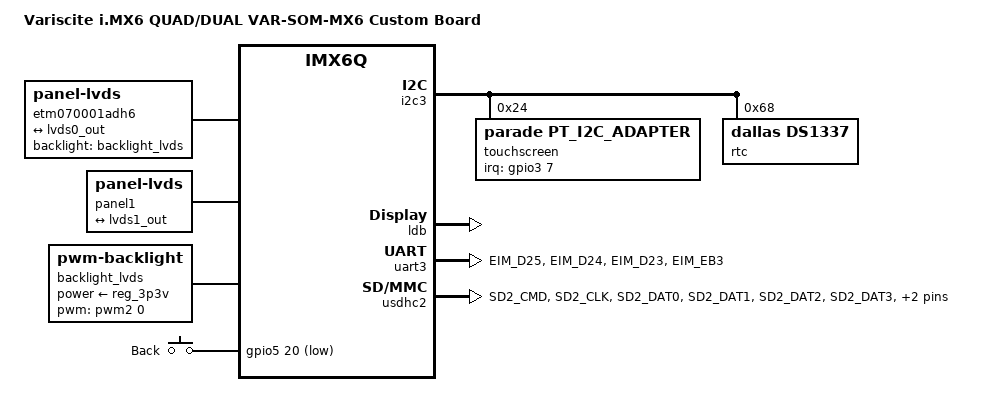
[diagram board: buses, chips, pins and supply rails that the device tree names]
// SPDX-License-Identifier: GPL-2.0+
/*
 * Support for Variscite MX6 Carrier-board
 *
 * Copyright 2016 Variscite, Ltd. All Rights Reserved
 * Copyright 2022 Bootlin
 */

/dts-v1/;

#include "imx6qdl-var-som.dtsi"
#include <dt-bindings/pwm/pwm.h>

/ {
	model = "Variscite i.MX6 QUAD/DUAL VAR-SOM-MX6 Custom Board";
	compatible = "variscite,mx6customboard", "variscite,var-som-imx6q", "fsl,imx6q";

	panel0: lvds-panel0 {
		compatible =  "panel-lvds";
		backlight = <&backlight_lvds>;
		width-mm = <152>;
		height-mm = <91>;
		label = "etm070001adh6";
		data-mapping = "jeida-18";

		panel-timing {
			clock-frequency = <32000000>;
			hactive = <800>;
			vactive = <480>;
			hback-porch = <39>;
			hfront-porch = <39>;
			vback-porch = <29>;
			vfront-porch = <13>;
			hsync-len = <47>;
			vsync-len = <2>;
		};

		port {
			panel_in_lvds0: endpoint {
				remote-endpoint = <&lvds0_out>;
			};
		};
	};

	panel1: lvds-panel1 {
		compatible =  "panel-lvds";
		width-mm = <152>;
		height-mm = <91>;
		data-mapping = "jeida-18";

		panel-timing {
			clock-frequency = <38251000>;
			hactive = <800>;
			vactive = <600>;
			hback-porch = <112>;
			hfront-porch = <32>;
			vback-porch = <3>;
			vfront-porch = <17>;
			hsync-len = <80>;
			vsync-len = <4>;
		};

		port {
			panel_in_lvds1: endpoint {
				remote-endpoint = <&lvds1_out>;
			};
		};
	};

	backlight_lvds: backlight-lvds {
		compatible = "pwm-backlight";
		pwms = <&pwm2 0 50000 0>;
		brightness-levels = <0 4 8 16 32 64 128 248>;
		default-brightness-level = <7>;
		power-supply = <&reg_3p3v>;
	};

	gpio-keys {
		compatible = "gpio-keys";
		pinctrl-names = "default";
		pinctrl-0 = <&pinctrl_gpio_keys>;

		back {
			label = "Back";
			gpios = <&gpio5 20 GPIO_ACTIVE_LOW>;
			linux,code = <KEY_BACK>;
			gpio-key,wakeup;
		};
	};
};

&i2c3 {
	pinctrl-names = "default";
	pinctrl-0 = <&pinctrl_i2c3>;
	status = "okay";

	touchscreen@24 {
		compatible = "parade,pt_i2c_adapter";
		reg = <0x24>;
		interrupt-parent = <&gpio3>;
		interrupts = <7 IRQ_TYPE_EDGE_FALLING>;
		parade,adapter_id = "pt_i2c_adapter";

		parade,core {
			parade,name = "pt_core";

			parade,irq_gpio = <71>;
			parade,rst_gpio = <141>;
			parade,level_irq_udelay = <1>;
			parade,hid_desc_register = <1>;
			/* CY_CORE_FLAG_RESTORE_PARAMETERS */
			parade,flags = <4>;
			parade,config_dut_generation = <0>;
			parade,watchdog_force_stop = <1>;
			/* CY_CORE_EWG_NONE */
			parade,easy_wakeup_gesture = <0>;
			parade,panel_id_support = <0>;
			parade,btn_keys-tag = <0>;

			parade,mt {
				parade,name = "pt_mt";

				parade,inp_dev_name = "pt_mt";
				/* CY_MT_FLAG_NONE */
				parade,flags = <0x00>;
				parade,abs =
					/* ABS_MT_POSITION_X, CY_ABS_MIN_X, CY_ABS_MAX_X, 0, 0 */
					<0x35 0 880 0 0
					/* ABS_MT_POSITION_Y, CY_ABS_MIN_Y, CY_ABS_MAX_Y, 0, 0 */
					0x36 0 1280 0 0
					/* ABS_MT_PRESSURE, CY_ABS_MIN_P, CY_ABS_MAX_P, 0, 0 */
					0x3a 0 255 0 0
					/* CY_IGNORE_VALUE, CY_ABS_MIN_W, CY_ABS_MAX_W, 0, 0 */
					0xffff 0 255 0 0
					/* ABS_MT_TRACKING_ID, CY_ABS_MIN_T, CY_ABS_MAX_T, 0, 0 */
					0x39 0 15 0 0
					/* ABS_MT_TOUCH_MAJOR, 0, 255, 0, 0 */
					0x30 0 255 0 0
					/* ABS_MT_TOUCH_MINOR, 0, 255, 0, 0 */
					0x31 0 255 0 0
					/* ABS_MT_ORIENTATION, -127, 127, 0, 0 */
					0x34 0xffffff81 127 0 0
					/* ABS_MT_TOOL_TYPE, 0, MT_TOOL_MAX, 0, 0 */
					0x37 0 1 0 0
					/* ABS_MT_DISTANCE, 0, 255, 0, 0 */
					0x3b 0 255 0 0>;
			};
		};
	};

	rtc@68 {
		compatible = "dallas,ds1337";
		reg = <0x68>;
	};
};

&iomuxc {
	pinctrl_camera: cameragrp {
		fsl,pins = <
			MX6QDL_PAD_CSI0_DAT12__IPU1_CSI0_DATA12		0x1b0b0
			MX6QDL_PAD_CSI0_DAT13__IPU1_CSI0_DATA13		0x1b0b0
			MX6QDL_PAD_CSI0_DAT14__IPU1_CSI0_DATA14		0x1b0b0
			MX6QDL_PAD_CSI0_DAT15__IPU1_CSI0_DATA15		0x1b0b0
			MX6QDL_PAD_CSI0_DAT16__IPU1_CSI0_DATA16		0x1b0b0
			MX6QDL_PAD_CSI0_DAT17__IPU1_CSI0_DATA17		0x1b0b0
			MX6QDL_PAD_CSI0_DAT18__IPU1_CSI0_DATA18		0x1b0b0
			MX6QDL_PAD_CSI0_DAT19__IPU1_CSI0_DATA19		0x1b0b0
			MX6QDL_PAD_CSI0_DATA_EN__IPU1_CSI0_DATA_EN	0x1b0b0
			MX6QDL_PAD_CSI0_PIXCLK__IPU1_CSI0_PIXCLK	0x1b0b0
			MX6QDL_PAD_CSI0_MCLK__IPU1_CSI0_HSYNC		0x1b0b0
			MX6QDL_PAD_CSI0_VSYNC__IPU1_CSI0_VSYNC		0x1b0b0
		>;
	};

	pinctrl_flexcan1: flexcan1grp {
		fsl,pins = <
			MX6QDL_PAD_GPIO_7__FLEXCAN1_TX		0x1b0b0
			MX6QDL_PAD_GPIO_8__FLEXCAN1_RX		0x1b0b0
		>;
	};

	pinctrl_gpio_keys: gpiokeysgrp {
		fsl,pins = <
			MX6QDL_PAD_CSI0_DATA_EN__GPIO5_IO20 	0x17059
		>;
	};

	pinctrl_ipu1: ipu1grp {
		fsl,pins = <
			MX6QDL_PAD_DI0_DISP_CLK__IPU1_DI0_DISP_CLK	0x10
			MX6QDL_PAD_DI0_PIN15__IPU1_DI0_PIN15		0x10
			MX6QDL_PAD_DI0_PIN2__IPU1_DI0_PIN02		0x10
			MX6QDL_PAD_DI0_PIN3__IPU1_DI0_PIN03		0x10
			MX6QDL_PAD_DI0_PIN4__IPU1_DI0_PIN04		0x10
			MX6QDL_PAD_DISP0_DAT0__IPU1_DISP0_DATA00	0x10
			MX6QDL_PAD_DISP0_DAT1__IPU1_DISP0_DATA01	0x10
			MX6QDL_PAD_DISP0_DAT2__IPU1_DISP0_DATA02	0x10
			MX6QDL_PAD_DISP0_DAT3__IPU1_DISP0_DATA03	0x10
			MX6QDL_PAD_DISP0_DAT4__IPU1_DISP0_DATA04	0x10
			MX6QDL_PAD_DISP0_DAT5__IPU1_DISP0_DATA05	0x10
			MX6QDL_PAD_DISP0_DAT6__IPU1_DISP0_DATA06	0x10
			MX6QDL_PAD_DISP0_DAT7__IPU1_DISP0_DATA07	0x10
			MX6QDL_PAD_DISP0_DAT8__IPU1_DISP0_DATA08	0x10
			MX6QDL_PAD_DISP0_DAT9__IPU1_DISP0_DATA09	0x10
			MX6QDL_PAD_DISP0_DAT10__IPU1_DISP0_DATA10	0x10
			MX6QDL_PAD_DISP0_DAT11__IPU1_DISP0_DATA11	0x10
			MX6QDL_PAD_DISP0_DAT12__IPU1_DISP0_DATA12	0x10
			MX6QDL_PAD_DISP0_DAT13__IPU1_DISP0_DATA13	0x10
			MX6QDL_PAD_DISP0_DAT14__IPU1_DISP0_DATA14	0x10
			MX6QDL_PAD_DISP0_DAT15__IPU1_DISP0_DATA15	0x10
			MX6QDL_PAD_DISP0_DAT16__IPU1_DISP0_DATA16	0x10
			MX6QDL_PAD_DISP0_DAT17__IPU1_DISP0_DATA17	0x10
			MX6QDL_PAD_DISP0_DAT18__IPU1_DISP0_DATA18	0x10
			MX6QDL_PAD_DISP0_DAT19__IPU1_DISP0_DATA19	0x10
			MX6QDL_PAD_DISP0_DAT20__IPU1_DISP0_DATA20	0x10
			MX6QDL_PAD_DISP0_DAT21__IPU1_DISP0_DATA21	0x10
			MX6QDL_PAD_DISP0_DAT22__IPU1_DISP0_DATA22	0x10
			MX6QDL_PAD_DISP0_DAT23__IPU1_DISP0_DATA23	0x10
		>;
	};

	pinctrl_uart3: uart3grp {
		fsl,pins = <
			MX6QDL_PAD_EIM_D25__UART3_RX_DATA	0x1b0b1
			MX6QDL_PAD_EIM_D24__UART3_TX_DATA	0x1b0b1
			MX6QDL_PAD_EIM_D23__UART3_CTS_B		0x1b0b1
			MX6QDL_PAD_EIM_EB3__UART3_RTS_B		0x1b0b1
		>;
	};

	pinctrl_usbotg_var: usbotggrp {
		fsl,pins = <
			MX6QDL_PAD_GPIO_4__GPIO1_IO04		0x17059
		>;
	};

	pinctrl_usdhc1: usdhc1grp {
		fsl,pins = <
			MX6QDL_PAD_SD1_CMD__SD1_CMD		0x17071
			MX6QDL_PAD_SD1_CLK__SD1_CLK		0x10071
			MX6QDL_PAD_SD1_DAT0__SD1_DATA0		0x17071
			MX6QDL_PAD_SD1_DAT1__SD1_DATA1		0x17071
			MX6QDL_PAD_SD1_DAT2__SD1_DATA2		0x17071
			MX6QDL_PAD_SD1_DAT3__SD1_DATA3		0x17071
		>;
	};

	pinctrl_usdhc2: usdhc2grp {
		fsl,pins = <
			MX6QDL_PAD_SD2_CMD__SD2_CMD		0x17059
			MX6QDL_PAD_SD2_CLK__SD2_CLK		0x10059
			MX6QDL_PAD_SD2_DAT0__SD2_DATA0		0x17059
			MX6QDL_PAD_SD2_DAT1__SD2_DATA1		0x17059
			MX6QDL_PAD_SD2_DAT2__SD2_DATA2		0x17059
			MX6QDL_PAD_SD2_DAT3__SD2_DATA3		0x17059
		>;
	};
};

&ldb {
	status = "okay";

	lvds-channel@0 {
		fsl,data-mapping = "spwg";
		fsl,data-width = <24>;
		status = "okay";

		port@4 {
			reg = <4>;

			lvds0_out: endpoint {
				remote-endpoint = <&panel_in_lvds0>;
			};
		};
	};

	lvds-channel@1 {
		fsl,data-mapping = "spwg";
		fsl,data-width = <24>;
		status = "okay";

		port@4 {
			reg = <4>;

			lvds1_out: endpoint {
				remote-endpoint = <&panel_in_lvds1>;
			};
		};
	};
};

&uart3 {
	pinctrl-names = "default";
	pinctrl-0 = <&pinctrl_uart3>;
	uart-has-rtscts;
	status = "okay";
};

&usdhc2 {
	pinctrl-names = "default";
	pinctrl-0 = <&pinctrl_usdhc2>;
	cd-gpios = <&gpio4 14 GPIO_ACTIVE_LOW>;
	wp-gpios = <&gpio4 15 GPIO_ACTIVE_HIGH>;
	status = "okay";
};
